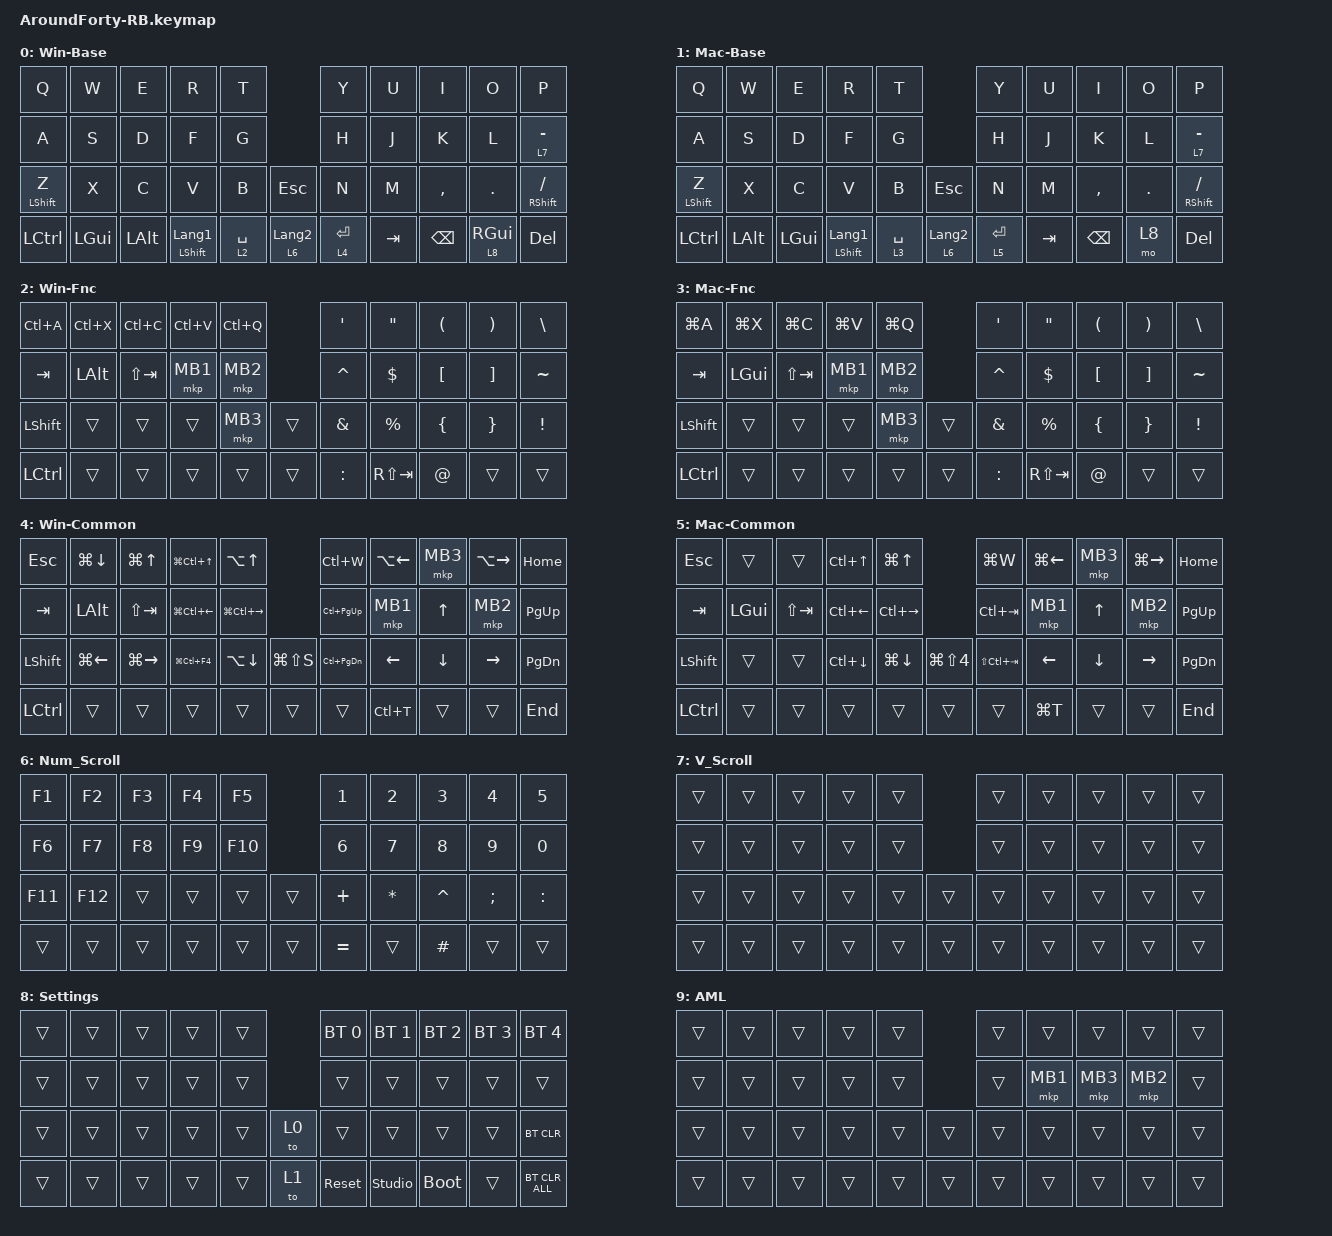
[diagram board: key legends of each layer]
#include <behaviors/rgbled_widget.dtsi>
#include <behaviors.dtsi>
#include <dt-bindings/zmk/bt.h>
#include <dt-bindings/zmk/keys.h>
#include <dt-bindings/zmk/pointing.h>

&mt {
    flavor = "balanced";
    quick-tap-ms = <0>;
};

/ {
    combos {
        compatible = "zmk,combos";

        Escape {
            bindings = <&kp ESCAPE>;
            key-positions = <0 1>;
        };

        Tab {
            bindings = <&kp TAB>;
            key-positions = <10 11>;
        };
    };

    macros {
        to_layer_0: to_layer_0 {
            compatible = "zmk,behavior-macro-one-param";
            #binding-cells = <1>;
            bindings = <&to 0 &macro_param_1to1 &kp MACRO_PLACEHOLDER>;
            label = "TO_LAYER_0";
        };

        // Windows用入力切り替え：Alt + Grave (~)

        ime_tog: ime_toggle {
            compatible = "zmk,behavior-macro";
            #binding-cells = <0>;
            bindings =
                <&macro_press>,
                <&kp LALT>,
                <&macro_tap>,
                <&kp GRAVE>,
                <&macro_release>,
                <&kp LALT>;
        };

        // macOS用入力切り替え：Ctrl + Space

        mac_ime: mac_ime_toggle {
            compatible = "zmk,behavior-macro";
            #binding-cells = <0>;
            bindings =
                <&macro_press>,
                <&kp LCTRL>,
                <&macro_tap>,
                <&kp SPACE>,
                <&macro_release>,
                <&kp LCTRL>;
        };
    };

    behaviors {
        lt_to_layer_0: lt_to_layer_0 {
            compatible = "zmk,behavior-hold-tap";
            label = "LAYER_TAP_TO_0";
            bindings = <&mo>, <&to_layer_0>;

            #binding-cells = <2>;
            tapping-term-ms = <200>;
        };

        // 

        scroll_up_down: behavior_sensor_rotate_mouse_wheel_up_down {
            compatible = "zmk,behavior-sensor-rotate";
            #sensor-binding-cells = <0>;
            bindings = <&msc SCRL_UP>, <&msc SCRL_DOWN>;

            tap-ms = <20>;
        };
    };

    keymap {
        compatible = "zmk,keymap";

        Win-Base {
            display-name = "Win-Base";
            bindings = <
&kp Q             &kp W     &kp E     &kp R                 &kp T                          &kp Y        &kp U    &kp I          &kp O            &kp P
&kp A             &kp S     &kp D     &kp F                 &kp G                          &kp H        &kp J    &kp K          &kp L            &lt 7 MINUS
&mt LEFT_SHIFT Z  &kp X     &kp C     &kp V                 &kp B        &kp ESCAPE        &kp N        &kp M    &kp COMMA      &kp DOT          &mt RIGHT_SHIFT SLASH
&kp LCTRL         &kp LGUI  &kp LALT  &mt LSHFT LANGUAGE_1  &lt 2 SPACE  &lt 6 LANGUAGE_2  &lt 4 ENTER  &kp TAB  &kp BACKSPACE  &lt 8 RIGHT_GUI  &kp DEL
            >;
        };

        Mac-Base {
            display-name = "Mac-Base";
            bindings = <
&kp Q             &kp W         &kp E         &kp R                 &kp T                          &kp Y        &kp U    &kp I          &kp O    &kp P
&kp A             &kp S         &kp D         &kp F                 &kp G                          &kp H        &kp J    &kp K          &kp L    &lt 7 MINUS
&mt LEFT_SHIFT Z  &kp X         &kp C         &kp V                 &kp B        &kp ESCAPE        &kp N        &kp M    &kp COMMA      &kp DOT  &mt RIGHT_SHIFT SLASH
&kp LCTRL         &kp LEFT_ALT  &kp LEFT_GUI  &mt LSHFT LANGUAGE_1  &lt 3 SPACE  &lt 6 LANGUAGE_2  &lt 5 ENTER  &kp TAB  &kp BACKSPACE  &mo 8    &kp DEL
            >;
        };

        Win-Fnc {
            display-name = "Win-Fnc";
            bindings = <
&kp LC(A)       &kp LC(X)     &kp LC(C)    &kp LC(V)  &kp LC(Q)          &kp SINGLE_QUOTE  &kp DOUBLE_QUOTES  &kp LEFT_PARENTHESIS  &kp RIGHT_PARENTHESIS  &kp BACKSLASH
&kp TAB         &kp LEFT_ALT  &kp LS(TAB)  &mkp MB1   &mkp MB2           &kp CARET         &kp DOLLAR         &kp LEFT_BRACKET      &kp RIGHT_BRACKET      &kp TILDE
&kp LEFT_SHIFT  &trans        &trans       &trans     &mkp MB3   &trans  &kp AMPERSAND     &kp PERCENT        &kp LEFT_BRACE        &kp RIGHT_BRACE        &kp EXCL
&kp LCTRL       &trans        &trans       &trans     &trans     &trans  &kp COLON         &kp RS(TAB)        &kp AT                &trans                 &trans
            >;
        };

        Mac-Fnc {
            display-name = "Mac-Fnc";
            bindings = <
&kp LG(A)       &kp LG(X)     &kp LG(C)    &kp LG(V)  &kp LG(Q)          &kp SINGLE_QUOTE  &kp DOUBLE_QUOTES  &kp LEFT_PARENTHESIS  &kp RIGHT_PARENTHESIS  &kp BACKSLASH
&kp TAB         &kp LEFT_GUI  &kp LS(TAB)  &mkp MB1   &mkp MB2           &kp CARET         &kp DOLLAR         &kp LEFT_BRACKET      &kp RIGHT_BRACKET      &kp TILDE
&kp LEFT_SHIFT  &trans        &trans       &trans     &mkp MB3   &trans  &kp AMPERSAND     &kp PERCENT        &kp LEFT_BRACE        &kp RIGHT_BRACE        &kp EXCL
&kp LCTRL       &trans        &trans       &trans     &trans     &trans  &kp COLON         &kp RS(TAB)        &kp AT                &trans                 &trans
            >;
        };

        Win-Common {
            display-name = "Win-Common";
            bindings = <
&kp ESC    &kp LG(DOWN_ARROW)  &kp LG(UP_ARROW)     &kp LG(LC(UP_ARROW))    &kp LA(UP_ARROW)                        &kp LC(W)          &kp LA(LEFT_ARROW)  &mkp MB3        &kp LA(RIGHT_ARROW)  &kp HOME
&kp TAB    &kp LEFT_ALT        &kp LS(TAB)          &kp LG(LC(LEFT_ARROW))  &kp LG(LC(RIGHT_ARROW))                 &kp LC(PAGE_UP)    &mkp MB1            &kp UP_ARROW    &mkp MB2             &kp PAGE_UP
&kp LSHFT  &kp LG(LEFT_ARROW)  &kp LG(RIGHT_ARROW)  &kp LG(LC(F4))          &kp LA(DOWN_ARROW)       &kp LG(LS(S))  &kp LC(PAGE_DOWN)  &kp LEFT_ARROW      &kp DOWN_ARROW  &kp RIGHT_ARROW      &kp PAGE_DOWN
&kp LCTRL  &trans              &trans               &trans                  &trans                   &trans         &trans             &kp LC(T)           &trans          &trans               &kp END
            >;
        };

        Mac-Common {
            display-name = "Mac-Common";
            bindings = <
&kp ESC    &trans        &trans       &kp LC(UP_ARROW)    &kp LG(UP_ARROW)                           &kp LG(W)        &kp LG(LEFT_ARROW)  &mkp MB3        &kp LG(RIGHT_ARROW)  &kp HOME
&kp TAB    &kp LEFT_GUI  &kp LS(TAB)  &kp LC(LEFT_ARROW)  &kp LC(RIGHT_ARROW)                        &kp LC(TAB)      &mkp MB1            &kp UP_ARROW    &mkp MB2             &kp PAGE_UP
&kp LSHFT  &trans        &trans       &kp LC(DOWN_ARROW)  &kp LG(DOWN_ARROW)   &kp LG(LS(NUMBER_4))  &kp LS(LC(TAB))  &kp LEFT_ARROW      &kp DOWN_ARROW  &kp RIGHT_ARROW      &kp PAGE_DOWN
&kp LCTRL  &trans        &trans       &trans              &trans               &trans                &trans           &kp LG(T)           &trans          &trans               &kp END
            >;
        };

        Num_Scroll {
            bindings = <
&kp F1   &kp F2   &kp F3  &kp F4  &kp F5           &kp NUMBER_1  &kp NUMBER_2  &kp NUMBER_3  &kp NUMBER_4   &kp N5
&kp F6   &kp F7   &kp F8  &kp F9  &kp F10          &kp NUMBER_6  &kp NUMBER_7  &kp NUMBER_8  &kp NUMBER_9   &kp NUMBER_0
&kp F11  &kp F12  &trans  &trans  &trans   &trans  &kp PLUS      &kp ASTRK     &kp CARET     &kp SEMICOLON  &kp COLON
&trans   &trans   &trans  &trans  &trans   &trans  &kp EQUAL     &trans        &kp HASH      &trans         &trans
            >;
        };

        V_Scroll {
            bindings = <
&trans  &trans  &trans  &trans  &trans          &trans  &trans  &trans  &trans  &trans
&trans  &trans  &trans  &trans  &trans          &trans  &trans  &trans  &trans  &trans
&trans  &trans  &trans  &trans  &trans  &trans  &trans  &trans  &trans  &trans  &trans
&trans  &trans  &trans  &trans  &trans  &trans  &trans  &trans  &trans  &trans  &trans
            >;
        };

        Settings {
            display-name = "Settings";
            bindings = <
&trans  &trans  &trans  &trans  &trans         &bt BT_SEL 0  &bt BT_SEL 1    &bt BT_SEL 2  &bt BT_SEL 3  &bt BT_SEL 4
&trans  &trans  &trans  &trans  &trans         &trans        &trans          &trans        &trans        &trans
&trans  &trans  &trans  &trans  &trans  &to 0  &trans        &trans          &trans        &trans        &bt BT_CLR
&trans  &trans  &trans  &trans  &trans  &to 1  &sys_reset    &studio_unlock  &bootloader   &trans        &bt BT_CLR_ALL
            >;
        };

        AML {
            display-name = "AML";
            bindings = <
&trans  &trans  &trans  &trans  &trans          &trans  &trans    &trans    &trans    &trans
&trans  &trans  &trans  &trans  &trans          &trans  &mkp MB1  &mkp MB3  &mkp MB2  &trans
&trans  &trans  &trans  &trans  &trans  &trans  &trans  &trans    &trans    &trans    &trans
&trans  &trans  &trans  &trans  &trans  &trans  &trans  &trans    &trans    &trans    &trans
            >;
        };
    };
};
